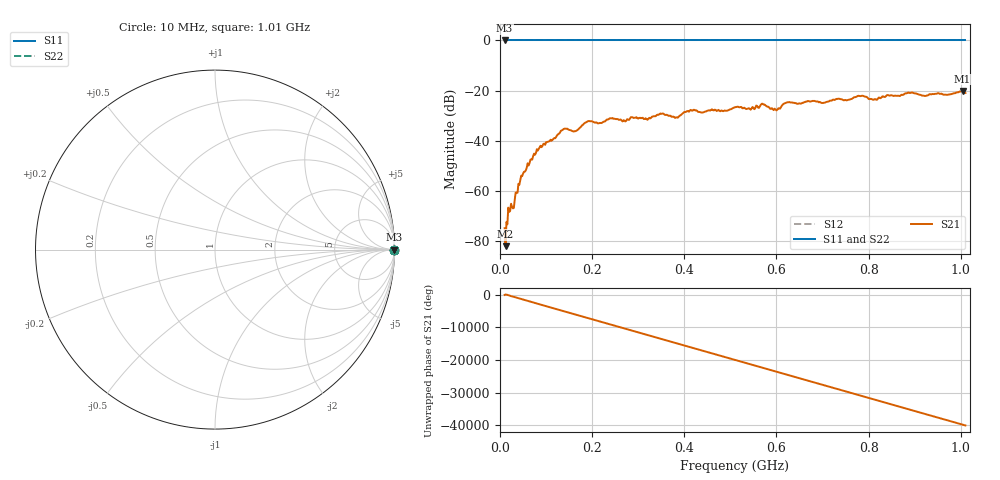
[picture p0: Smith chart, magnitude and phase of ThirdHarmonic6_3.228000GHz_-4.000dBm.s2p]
! 8/17/2025 9:52:24 AM
! C:\ANRITSUVNA\TEMP\TEMP.S2P
! CHANNEL.1
! TR.MEASUREMENT
! RAW.DATA
! RF.CORRECTION.OFF
! AVERAGING.OFF
! IF.BANDWIDTH: 5KHZ
! SWEEPTYPE:  FREQ.SWEEP(Linear)
! Reference Plane Port Info
! PORT:  PORT1  PORT2
! DISTANCE:  0  m  0  m
! TIME:  0  s  0  s
! PHASE.OFFSET:  0  deg.  0  deg.
! LOSS:  0  dB  0  dB
! REF.LOSS:  0  dB  0  dB
! REF.FREQ:  0  Hz  0  Hz
! Power Info
! POWER:  -20  dBm  -20  dBm
! EFF.POWER:  -20  dBm  -20  dBm
! SOURCE.ATTEN:  0  dB  0  dB
! TEST.ATTEN:  0  dB  0  dB
# GHZ S RI R 50.0
! FREQ.GHZ  S11RE  S11IM  S21RE  S21IM  S12RE  S12IM  S22RE  S22IM
!; PortSelection: Port_12
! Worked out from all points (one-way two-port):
!   501 points, 10 MHz to 1.01 GHz, reference 50 ohm
!   highest |S21| = -20.14 dB at 1.004 GHz (marker M1); lowest = -82.0 dB at 12 MHz (marker M2)
!   lowest |S11| = 0.0 dB at 10 MHz (marker M3)
!   |S11| at or under -10 dB: nowhere
!   |S22| runs from 0.0 to 0.0 dB; largest |S21 - S12| = 1.1
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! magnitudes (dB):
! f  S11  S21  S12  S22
! 10 MHz  0.0  -74.8  0.0  0.0
! 12 MHz  0.0  -82.0  0.0  0.0
! 22 MHz  0.0  -67.9  0.0  0.0
! 30 MHz  0.0  -66.7  0.0  0.0
! 44 MHz  0.0  -55.7  0.0  0.0
! 76 MHz  0.0  -45.5  0.0  0.0
! 136 MHz  0.0  -35.6  0.0  0.0
! 162 MHz  0.0  -36.2  0.0  0.0
! 178 MHz  0.0  -33.8  0.0  0.0
! 194 MHz  0.0  -32.2  0.0  0.0
! 318 MHz  0.0  -31.4  0.0  0.0
! 344 MHz  0.0  -29.6  0.0  0.0
! 384 MHz  0.0  -30.7  0.0  0.0
! 416 MHz  0.0  -27.9  0.0  0.0
! 510 MHz  0.0  -26.6  0.0  0.0
! 570 MHz  0.0  -25.2  0.0  0.0
! 598 MHz  0.0  -27.5  0.0  0.0
! 624 MHz  0.0  -24.6  0.0  0.0
! 678 MHz  0.0  -24.1  0.0  0.0
! 844 MHz  0.0  -21.9  0.0  0.0
! 1.004 GHz  0.0  -20.1  0.0  0.0
! 1.01 GHz  0.0  -20.9  0.0  0.0
